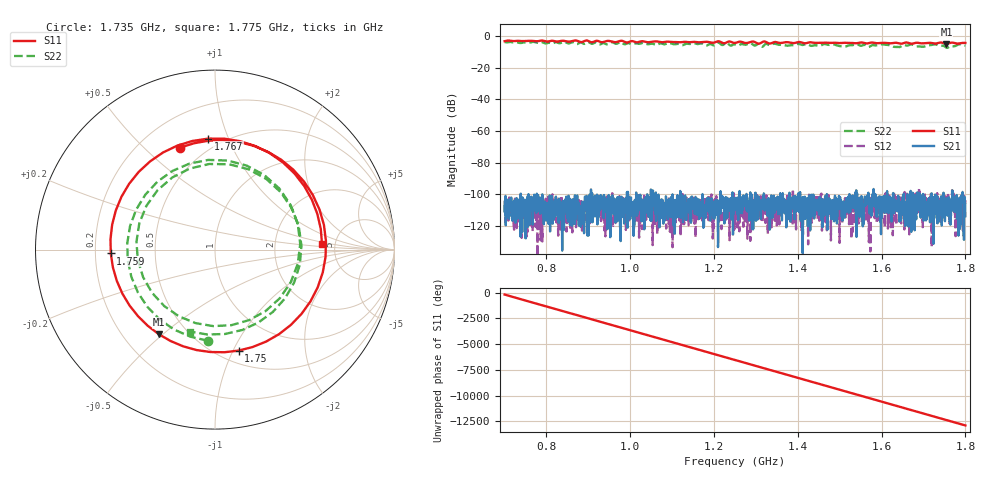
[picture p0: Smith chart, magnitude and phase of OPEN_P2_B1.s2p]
# Hz S RI R 50
! RAW DATA - UNCALIBRATED
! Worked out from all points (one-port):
!   1601 points, 700 MHz to 1.8 GHz, reference 50 ohm
!   lowest |S11| = -4.9 dB at 1.755 GHz (marker M1), VSWR 3.61, Z = 17.4 - j24.2 ohm
!   |S11| at or under -10 dB: nowhere
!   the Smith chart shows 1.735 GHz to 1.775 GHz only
!   S11 on the Smith chart (normalised r, x): 1.735 GHz: 0.37, +0.65; 1.75 GHz: 0.62, -1.05; 1.759 GHz: 0.27, -0.02; 1.767 GHz: 0.42, +0.85; 1.775 GHz: 3.92, +0.38
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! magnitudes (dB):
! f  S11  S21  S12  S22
! 700 MHz  -3.3  -110.9  -106.7  -3.8
! 883.6 MHz  -3.8  -108.2  -108.5  -4.1
! 1.067 GHz  -3.5  -100.2  -120.5  -5.2
! 1.152 GHz  -3.7  -102.8  -102.2  -4.5
! 1.181 GHz  -3.6  -105.7  -103.3  -6.1
! 1.21 GHz  -3.3  -128.5  -103.8  -4.2
! 1.25 GHz  -4.4  -108.3  -105.1  -5.4
! 1.286 GHz  -3.9  -106.8  -103.7  -4.5
! 1.315 GHz  -3.9  -103.6  -108.1  -6.8
! 1.344 GHz  -3.8  -102.3  -103.9  -4.8
! 1.434 GHz  -4.1  -108.7  -102.5  -6.2
! 1.617 GHz  -4.5  -108.3  -111.3  -5.7
! 1.638 GHz  -4.5  -109.9  -101.5  -7.0
! 1.67 GHz  -4.8  -100.5  -103.1  -5.2
! 1.696 GHz  -4.6  -110.0  -109.0  -6.8
! 1.735 GHz  -4.4  -104.9  -102.1  -5.9
! 1.75 GHz  -4.8  -104.7  -104.2  -6.6
! 1.755 GHz  -4.9  -113.0  -109.4  -7.4
! 1.759 GHz  -4.7  -106.7  -105.0  -7.1
! 1.767 GHz  -4.2  -110.4  -102.8  -6.3
! 1.775 GHz  -4.5  -111.2  -107.9  -6.4
! 1.8 GHz  -4.4  -113.8  -103.8  -6.0
